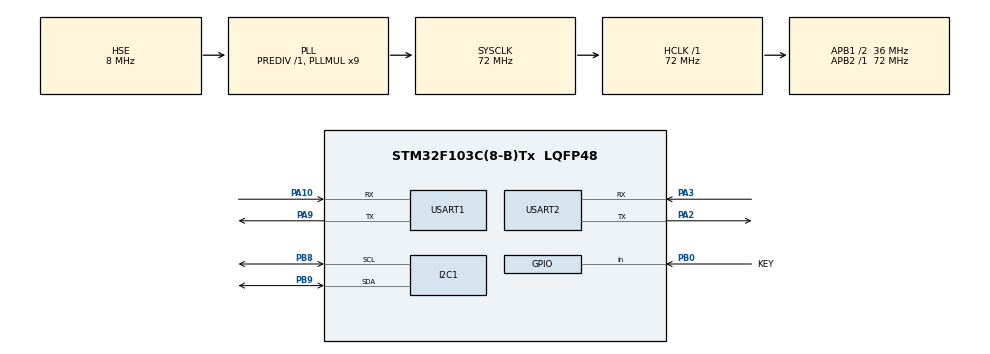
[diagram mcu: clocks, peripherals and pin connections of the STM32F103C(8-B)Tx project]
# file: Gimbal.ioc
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Mcu.Family=STM32F1
Mcu.Name=STM32F103C(8-B)Tx
Mcu.Package=LQFP48
NVIC.PriorityGroup=NVIC_PRIORITYGROUP_4
NVIC.TIM1_UP_IRQn=true\:0\:0\:true\:false\:true\:true\:true\:true
PA10.Mode=Asynchronous
PA10.Signal=USART1_RX
PA13.Mode=Serial_Wire
PA13.Signal=SYS_JTMS-SWDIO
PA14.Mode=Serial_Wire
PA14.Signal=SYS_JTCK-SWCLK
PA2.Mode=Asynchronous
PA2.Signal=USART2_TX
PA3.Mode=Asynchronous
PA3.Signal=USART2_RX
PA9.Mode=Asynchronous
PA9.Signal=USART1_TX
PB0.GPIO_Label=KEY
PB0.GPIO_PuPd=GPIO_PULLUP
PB0.Signal=GPIO_Input
PB8.Mode=I2C
PB8.Signal=I2C1_SCL
PB9.Mode=I2C
PB9.Signal=I2C1_SDA
PC14-OSC32_IN.Mode=LSE-External-Oscillator
PC14-OSC32_IN.Signal=RCC_OSC32_IN
PC15-OSC32_OUT.Mode=LSE-External-Oscillator
PC15-OSC32_OUT.Signal=RCC_OSC32_OUT
PD0-OSC_IN.Mode=HSE-External-Oscillator
PD0-OSC_IN.Signal=RCC_OSC_IN
PD1-OSC_OUT.Mode=HSE-External-Oscillator
PD1-OSC_OUT.Signal=RCC_OSC_OUT
ProjectManager.HeapSize=0x200
ProjectManager.StackSize=0x400
ProjectManager.TargetToolchain=CMake
RCC.AHBFreq_Value=72000000
RCC.APB1CLKDivider=RCC_HCLK_DIV2
RCC.APB1Freq_Value=36000000
RCC.APB1TimFreq_Value=72000000
RCC.APB2Freq_Value=72000000
RCC.APB2TimFreq_Value=72000000
RCC.HCLKFreq_Value=72000000
RCC.PLLMUL=RCC_PLL_MUL9
RCC.PLLSourceVirtual=RCC_PLLSOURCE_HSE
RCC.SYSCLKFreq_VALUE=72000000
RCC.SYSCLKSource=RCC_SYSCLKSOURCE_PLLCLK
RCC.USBFreq_Value=72000000
TIM1.Period=999
TIM1.Prescaler=71
USART1.VirtualMode=VM_ASYNC
USART2.VirtualMode=VM_ASYNC
VP_TIM1_VS_ClockSourceINT.Mode=Internal
board=custom

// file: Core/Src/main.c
/* USER CODE BEGIN Header */
/**
  ******************************************************************************
  * @file           : main.c
  * @brief          : Main program body
  ******************************************************************************
  * @attention
  *
  * Copyright (c) 2025 STMicroelectronics.
  * All rights reserved.
  *
  * This software is licensed under terms that can be found in the LICENSE file
  * in the root directory of this software component.
  * If no LICENSE file comes with this software, it is provided AS-IS.
  *
  ******************************************************************************
  */
/* USER CODE END Header */
#include "main.h"
#include "i2c.h"
#include "tim.h"
#include "usart.h"
#include "gpio.h"

/* USER CODE BEGIN Includes */
#include <stdio.h>
#include <stdlib.h>
#include <string.h>
#include "control.h"
#include "oled.h"
#include "key.h"
#include "bus_servo.h" // 总线舵机驱动
#include "delay.h"
/* USER CODE END Includes */

/* USER CODE BEGIN PD */
/* 二维云台：上层舵机 ID=000；下层舵机 ID=001 */
static const uint8_t SERVO_UPPER_ID = 0;
static const uint8_t SERVO_LOWER_ID = 1;
/* USER CODE END PD */

/* USER CODE BEGIN PV */
key_s key;
volatile uint8_t kv = 0; // 全局按键值，由定时中断周期性采样更新
/* USER CODE END PV */

void SystemClock_Config(void);
/* USER CODE BEGIN PFP */
int parse_packet(const char *s, int *out_a, int *out_b);
/* USER CODE END PFP */

int main(void)
{

  /* MCU Configuration--------------------------------------------------------*/

  /* Reset of all peripherals, Initializes the Flash interface and the Systick. */
  HAL_Init();

  /* Configure the system clock */
  SystemClock_Config();

  /* Initialize all configured peripherals */
  MX_GPIO_Init();
  MX_I2C1_Init();
  MX_TIM1_Init();
  MX_USART1_UART_Init();
  MX_USART2_UART_Init();
  /* USER CODE BEGIN 2 */
  key.GPIOx = KEY_GPIO_Port;
  key.pin = KEY_Pin;
  key_init(&key);

  // 初始化 OLED 并显示标签（16x4 屏，x=0..15, y=0..3）
  OLED_Init();
  OLED_Clear();
  OLED_ShowString(0,3,"Gimbal Test",11);
  HAL_TIM_Base_Start_IT(&htim1);
  /* USER CODE END 2 */

  /* Infinite loop */
  /* USER CODE BEGIN WHILE */
  // 先将两层舵机移动到中值（1500），仅执行一次
  {
  char cmd[32] = {0};
  if (bus_servo_fmt_move(cmd, sizeof(cmd), SERVO_UPPER_ID, 1500, 1000) >= 0) {
    (void)bus_servo_send(&huart1, cmd, 50);
  }
    if (bus_servo_fmt_move(cmd, sizeof(cmd), SERVO_LOWER_ID, 1500, 1000) >= 0) {
      (void)bus_servo_send(&huart1, cmd, 50);
    }
  }
  while (1)
  {
    char cmd[16]={0};
    char buf[16]="";
    int received_x=0, received_y=0;
    static int x=0,y=0;
    HAL_UART_Receive(&huart2, buf,sizeof(buf), 10);
    parse_packet(buf, &received_x, &received_y);
    // OLED_ShowSignNum(0,0,received_x,3);
    // OLED_ShowSignNum(0,1,received_y,3);
    control_set_target(x*0.05+received_x*0.95,y*0.05+received_y*0.95);
    x=received_x;
    y=received_y;
    control(&huart1);
    /* 中值调整 */
    // if (bus_servo_fmt_set_sck_base(cmd,sizeof(cmd),SERVO_UPPER_ID)>=0) {
    //   if (bus_servo_send(&huart1,cmd,50)!=HAL_OK) {
    //     // 发送失败处理（可选）
    //     OLED_ShowString(0,2,"NO",2);
    //   }
    //   else OLED_ShowString(0,2,"ok",2);
    // }
    // if (bus_servo_fmt_set_sck_base(cmd,sizeof(cmd),SERVO_LOWER_ID)>=0) {
    //    if (bus_servo_send(&huart1,cmd,50)!=HAL_OK) {
    //     // 发送失败处理（可选）
    //     OLED_ShowString(0,3,"NO",2);
    //   }
    //   else OLED_ShowString(0,3,"ok",2);
    // }

    // --- 控制测试：根据 kv 设定/反向目标并执行控制 ---
    // {
    //   static int8_t x_sign = +1; // 当前 x 方向符号
    //   static int8_t y_sign = +1; // 当前 y 方向符号
    //   uint8_t k = kv; // 读取快照，避免中途变化
    //   if (k == 4) {
    //     control_set_target(10.0f * x_sign, 0.0f);
    //   } else if (k == 1) {
    //     control_set_target(0.0f, 10.0f * y_sign);
    //   } else if (k == 2) {
    //     // 反向：翻转已设定目标的符号。如果当前某轴目标为0，则保持0
    //     x_sign = -x_sign;
    //     y_sign = -y_sign;
    //   }
    //   // 执行一次控制输出（根据 PID 目标更新两个舵机）
    //   (void)control(&huart1);
    // }

    // 节流，避免过快刷新（不使用自定义Delay以免影响SysTick）
    //HAL_Delay(50);
    /* USER CODE END WHILE */

  }
}

void SystemClock_Config(void)
{
  RCC_OscInitTypeDef RCC_OscInitStruct = {0};
  RCC_ClkInitTypeDef RCC_ClkInitStruct = {0};

  /** Initializes the RCC Oscillators according to the specified parameters
  * in the RCC_OscInitTypeDef structure.
  */
  RCC_OscInitStruct.OscillatorType = RCC_OSCILLATORTYPE_HSE;
  RCC_OscInitStruct.HSEState = RCC_HSE_ON;
  RCC_OscInitStruct.HSEPredivValue = RCC_HSE_PREDIV_DIV1;
  RCC_OscInitStruct.HSIState = RCC_HSI_ON;
  RCC_OscInitStruct.PLL.PLLState = RCC_PLL_ON;
  RCC_OscInitStruct.PLL.PLLSource = RCC_PLLSOURCE_HSE;
  RCC_OscInitStruct.PLL.PLLMUL = RCC_PLL_MUL9;
  if (HAL_RCC_OscConfig(&RCC_OscInitStruct) != HAL_OK)
  {
    Error_Handler();
  }

  /** Initializes the CPU, AHB and APB buses clocks
  */
  RCC_ClkInitStruct.ClockType = RCC_CLOCKTYPE_HCLK|RCC_CLOCKTYPE_SYSCLK
                              |RCC_CLOCKTYPE_PCLK1|RCC_CLOCKTYPE_PCLK2;
  RCC_ClkInitStruct.SYSCLKSource = RCC_SYSCLKSOURCE_PLLCLK;
  RCC_ClkInitStruct.AHBCLKDivider = RCC_SYSCLK_DIV1;
  RCC_ClkInitStruct.APB1CLKDivider = RCC_HCLK_DIV2;
  RCC_ClkInitStruct.APB2CLKDivider = RCC_HCLK_DIV1;

  if (HAL_RCC_ClockConfig(&RCC_ClkInitStruct, FLASH_LATENCY_2) != HAL_OK)
  {
    Error_Handler();
  }
}

/* USER CODE BEGIN 4 */
/**
  * @brief  Timer period elapsed callback in non-blocking mode
  * @param  htim: Pointer to a TIM handle
  * @retval None
  */
void HAL_TIM_PeriodElapsedCallback(TIM_HandleTypeDef *htim){
  static uint32_t time_cnt=0;
  if (htim->Instance == TIM1) {
    /* USER CODE BEGIN TIM1_PERIOD_ELAPSED */
    // time_cnt++;
    // if (time_cnt>=20) {
    //   time_cnt=0;
    //   key_scan(&key); // 保留按键去抖
    // }
    // // 每100个计数采样一次按键值
    // static uint32_t sample_cnt = 0;
    // sample_cnt++;
    // if (sample_cnt >= 100) {
    //   sample_cnt = 0;
    //   kv = key_get_state(&key);
    // }
    /* USER CODE END TIM1_PERIOD_ELAPSED */
  }
}
int parse_packet(const char *s, int *out_a, int *out_b) {
  // Skip leading whitespace
  while (*s == ' ' || *s == '\t' || *s == '\r' || *s == '\n') s++;
  if (*s != '$') return -1;
  s++; // after leading '$'
  // Parse first integer
  char *end = NULL;
  long a = strtol(s, &end, 10);
  if (end == s) return -1; // no digits
  s = end;
  // Skip spaces between numbers
  while (*s == ' ' || *s == '\t') s++;
  // Parse second integer
  long b = strtol(s, &end, 10);
  if (end == s) return -1; // no second digits
  s = end;
  // Skip trailing spaces
  while (*s == ' ' || *s == '\t') s++;
  if (*s != '$') return -1; // must end with '$'
  // Range clamp to int if needed
  *out_a = (int)a;
  *out_b = (int)b;
  return 0;
}
/* USER CODE END 4 */

void Error_Handler(void)
{
  __disable_irq();
  while (1)
  {
  }
}
